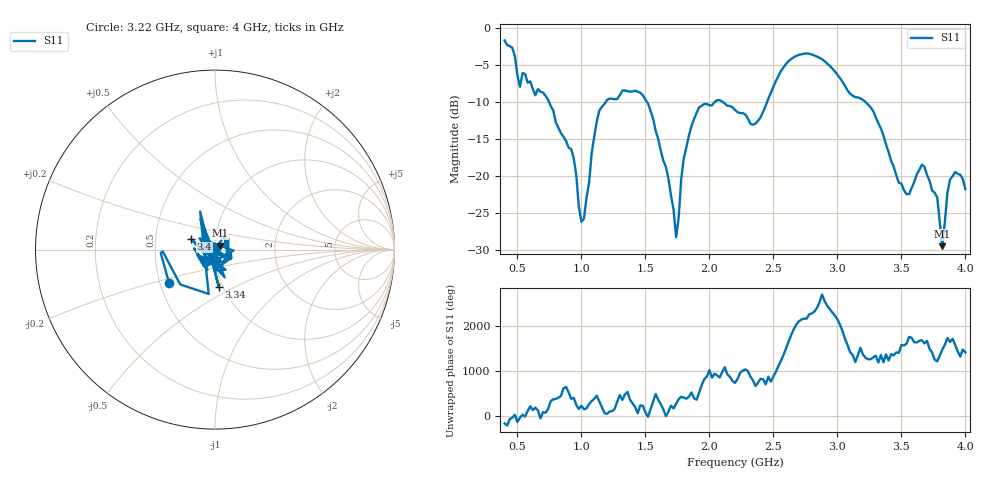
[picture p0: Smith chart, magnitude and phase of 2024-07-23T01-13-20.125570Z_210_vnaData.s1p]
!Created with skrf (http://scikit-rf.org).
# Hz S RI R 50.0
!freq ReS11 ImS11
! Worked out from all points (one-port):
!   181 points, 400 MHz to 4 GHz, reference 50 ohm
!   lowest |S11| = -29.4 dB at 3.82 GHz (marker M1), VSWR 1.07, Z = 52.6 + j2.28 ohm
!   |S11| at or under -10 dB: 747.4 MHz to 1.19 GHz (442.5 MHz wide, 45.7 % of centre); 1.513 GHz to 2.041 GHz (528.5 MHz wide, 29.7 % of centre); 3.22 GHz to end of sweep (the widest 3 of 4)
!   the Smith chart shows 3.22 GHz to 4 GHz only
!   S11 on the Smith chart (normalised r, x): 3.22 GHz: 0.56, -0.23; 3.34 GHz: 0.96, -0.42; 3.4 GHz: 0.76, +0.09; 4 GHz: 1.16, -0.08
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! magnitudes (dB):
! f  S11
! 400 MHz  -1.7
! 520 MHz  -7.9
! 700 MHz  -8.7
! 860 MHz  -14.7
! 940 MHz  -17.6
! 1 GHz  -26.1
! 1.14 GHz  -11.2
! 1.3 GHz  -9.1
! 1.52 GHz  -10.2
! 1.68 GHz  -20.3
! 1.74 GHz  -28.2
! 1.76 GHz  -25.6
! 1.8 GHz  -17.6
! 1.92 GHz  -10.7
! 2.2 GHz  -11.1
! 2.36 GHz  -12.9
! 2.66 GHz  -3.9
! 2.88 GHz  -4.2
! 3.1 GHz  -8.9
! 3.22 GHz  -10.0
! 3.34 GHz  -13.5
! 3.4 GHz  -16.7
! 3.56 GHz  -22.4
! 3.68 GHz  -18.7
! 3.78 GHz  -22.9
! 3.82 GHz  -29.4
! 3.88 GHz  -20.5
! 4 GHz  -21.7
